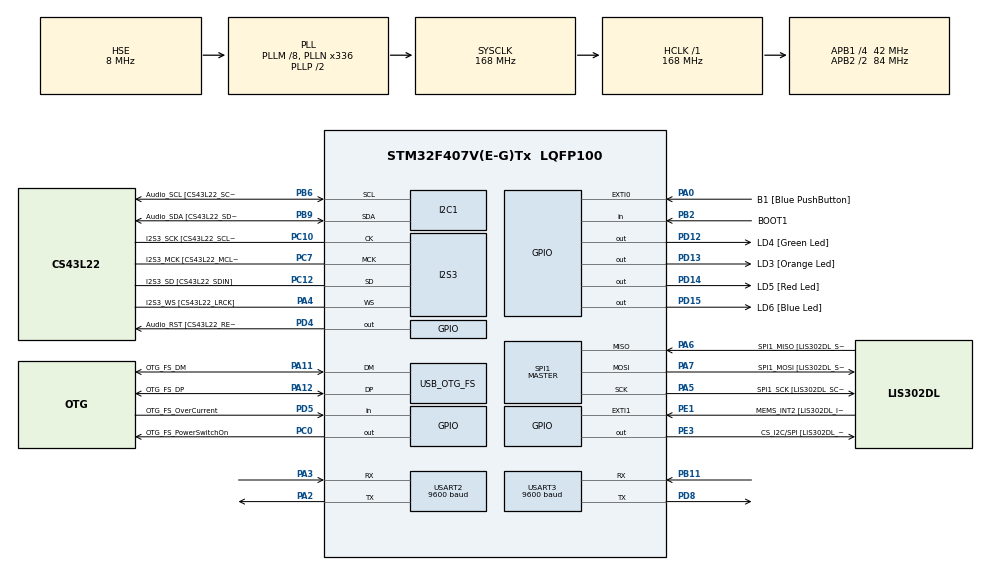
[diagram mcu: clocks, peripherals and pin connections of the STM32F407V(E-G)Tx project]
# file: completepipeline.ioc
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I2S3.AudioFreq-Half_Duplex_Master=I2S_AUDIOFREQ_96K
I2S3.ErrorAudioFreq=-2.34 %
I2S3.ErrorAudioFreq-Half_Duplex_Master=0.8 %
I2S3.FullDuplexMode=I2S_FULLDUPLEXMODE_DISABLE
I2S3.Instance=SPI$Index
I2S3.RealAudioFreq=93.75 KHz
I2S3.RealAudioFreq-Half_Duplex_Master=96.774 KHz
I2S3.VirtualMode=I2S_MODE_MASTER
Mcu.Family=STM32F4
Mcu.Name=STM32F407V(E-G)Tx
Mcu.Package=LQFP100
NVIC.OTG_FS_IRQn=true\:0\:0\:false\:false\:true\:true\:true\:true
NVIC.PriorityGroup=NVIC_PRIORITYGROUP_0
PA0-WKUP.GPIO_Label=B1 [Blue PushButton]
PA0-WKUP.GPIO_ModeDefaultEXTI=GPIO_MODE_EVT_RISING
PA0-WKUP.GPIO_PuPd=GPIO_NOPULL
PA0-WKUP.Signal=GPXTI0
PA10.GPIO_Label=OTG_FS_ID
PA10.GPIO_Mode=GPIO_MODE_AF_PP
PA10.GPIO_PuPd=GPIO_NOPULL
PA10.GPIO_Speed=GPIO_SPEED_FREQ_LOW
PA10.Signal=USB_OTG_FS_ID
PA11.GPIO_Label=OTG_FS_DM
PA11.GPIO_Mode=GPIO_MODE_AF_PP
PA11.GPIO_PuPd=GPIO_NOPULL
PA11.GPIO_Speed=GPIO_SPEED_FREQ_LOW
PA11.Mode=Device_Only
PA11.Signal=USB_OTG_FS_DM
PA12.GPIO_Label=OTG_FS_DP
PA12.GPIO_Mode=GPIO_MODE_AF_PP
PA12.GPIO_PuPd=GPIO_NOPULL
PA12.GPIO_Speed=GPIO_SPEED_FREQ_LOW
PA12.Mode=Device_Only
PA12.Signal=USB_OTG_FS_DP
PA13.GPIO_Label=SWDIO
PA13.Mode=Serial_Wire
PA13.Signal=SYS_JTMS-SWDIO
PA14.GPIO_Label=SWCLK
PA14.Mode=Serial_Wire
PA14.Signal=SYS_JTCK-SWCLK
PA2.Mode=Asynchronous
PA2.Signal=USART2_TX
PA3.Mode=Asynchronous
PA3.Signal=USART2_RX
PA4.GPIO_Label=I2S3_WS [CS43L22_LRCK]
PA4.GPIO_Mode=GPIO_MODE_AF_PP
PA4.GPIO_PuPd=GPIO_NOPULL
PA4.GPIO_Speed=GPIO_SPEED_FREQ_LOW
PA4.Mode=Half_Duplex_Master
PA4.Signal=I2S3_WS
PA5.GPIO_Label=SPI1_SCK [LIS302DL_SCL/SPC]
PA5.GPIO_Mode=GPIO_MODE_AF_PP
PA5.GPIO_PuPd=GPIO_NOPULL
PA5.GPIO_Speed=GPIO_SPEED_FREQ_LOW
PA5.Mode=Full_Duplex_Master
PA5.Signal=SPI1_SCK
PA6.GPIO_Label=SPI1_MISO [LIS302DL_SDO]
PA6.GPIO_Mode=GPIO_MODE_AF_PP
PA6.GPIO_PuPd=GPIO_NOPULL
PA6.GPIO_Speed=GPIO_SPEED_FREQ_LOW
PA6.Mode=Full_Duplex_Master
PA6.Signal=SPI1_MISO
PA7.GPIO_Label=SPI1_MOSI [LIS302DL_SDA/SDI/SDO]
PA7.GPIO_Mode=GPIO_MODE_AF_PP
PA7.GPIO_PuPd=GPIO_NOPULL
PA7.GPIO_Speed=GPIO_SPEED_FREQ_LOW
PA7.Mode=Full_Duplex_Master
PA7.Signal=SPI1_MOSI
PA9.GPIO_Label=VBUS_FS
PA9.GPIO_Mode=GPIO_MODE_INPUT
PA9.GPIO_PuPd=GPIO_NOPULL
PA9.Signal=USB_OTG_FS_VBUS
PB10.GPIO_Label=CLK_IN [MP45DT02_CLK]
PB10.GPIO_Mode=GPIO_MODE_AF_PP
PB10.GPIO_PuPd=GPIO_NOPULL
PB10.GPIO_Speed=GPIO_SPEED_FREQ_LOW
PB10.Signal=I2S2_CK
PB11.Mode=Asynchronous
PB11.Signal=USART3_RX
PB2.GPIO_Label=BOOT1
PB2.GPIO_Mode=GPIO_MODE_INPUT
PB2.GPIO_PuPd=GPIO_NOPULL
PB2.Signal=GPIO_Input
PB3.GPIO_Label=SWO
PB3.Signal=SYS_JTDO-SWO
PB6.GPIO_Label=Audio_SCL [CS43L22_SCL]
PB6.GPIO_Mode=GPIO_MODE_AF_OD
PB6.GPIO_Pu=GPIO_PULLUP
PB6.GPIO_PuPd=GPIO_NOPULL
PB6.GPIO_Speed=GPIO_SPEED_FREQ_LOW
PB6.Mode=I2C
PB6.Signal=I2C1_SCL
PB9.GPIO_Label=Audio_SDA [CS43L22_SDA]
PB9.GPIO_Mode=GPIO_MODE_AF_OD
PB9.GPIO_Pu=GPIO_PULLUP
PB9.GPIO_PuPd=GPIO_NOPULL
PB9.GPIO_Speed=GPIO_SPEED_FREQ_LOW
PB9.Mode=I2C
PB9.Signal=I2C1_SDA
PC0.GPIO_Label=OTG_FS_PowerSwitchOn
PC0.GPIO_PuPd=GPIO_NOPULL
PC0.GPIO_Speed=GPIO_SPEED_FREQ_LOW
PC0.PinState=GPIO_PIN_SET
PC0.Signal=GPIO_Output
PC10.GPIO_Label=I2S3_SCK [CS43L22_SCLK]
PC10.GPIO_Mode=GPIO_MODE_AF_PP
PC10.GPIO_PuPd=GPIO_NOPULL
PC10.GPIO_Speed=GPIO_SPEED_FREQ_LOW
PC10.Mode=Half_Duplex_Master
PC10.Signal=I2S3_CK
PC12.GPIO_Label=I2S3_SD [CS43L22_SDIN]
PC12.GPIO_Mode=GPIO_MODE_AF_PP
PC12.GPIO_PuPd=GPIO_NOPULL
PC12.GPIO_Speed=GPIO_SPEED_FREQ_LOW
PC12.Mode=Half_Duplex_Master
PC12.Signal=I2S3_SD
PC14-OSC32_IN.GPIO_Label=PC14-OSC32_IN
PC14-OSC32_IN.Mode=LSE-External-Oscillator
PC14-OSC32_IN.Signal=RCC_OSC32_IN
PC15-OSC32_OUT.GPIO_Label=PC15-OSC32_OUT
PC15-OSC32_OUT.Mode=LSE-External-Oscillator
PC15-OSC32_OUT.Signal=RCC_OSC32_OUT
PC3.GPIO_Label=PDM_OUT [MP45DT02_DOUT]
PC3.GPIO_Mode=GPIO_MODE_AF_PP
PC3.GPIO_PuPd=GPIO_NOPULL
PC3.GPIO_Speed=GPIO_SPEED_FREQ_LOW
PC3.Signal=I2S2_SD
PC7.GPIO_Label=I2S3_MCK [CS43L22_MCLK]
PC7.GPIO_Mode=GPIO_MODE_AF_PP
PC7.GPIO_PuPd=GPIO_NOPULL
PC7.GPIO_Speed=GPIO_SPEED_FREQ_LOW
PC7.Mode=Master_Clock_Activated
PC7.Signal=I2S3_MCK
PD12.GPIO_Label=LD4 [Green Led]
PD12.GPIO_PuPd=GPIO_NOPULL
PD12.GPIO_Speed=GPIO_SPEED_FREQ_LOW
PD12.Signal=GPIO_Output
PD13.GPIO_Label=LD3 [Orange Led]
PD13.GPIO_PuPd=GPIO_NOPULL
PD13.GPIO_Speed=GPIO_SPEED_FREQ_LOW
PD13.Signal=GPIO_Output
PD14.GPIO_Label=LD5 [Red Led]
PD14.GPIO_PuPd=GPIO_NOPULL
PD14.GPIO_Speed=GPIO_SPEED_FREQ_LOW
PD14.Signal=GPIO_Output
PD15.GPIO_Label=LD6 [Blue Led]
PD15.GPIO_PuPd=GPIO_NOPULL
PD15.GPIO_Speed=GPIO_SPEED_FREQ_LOW
PD15.Signal=GPIO_Output
PD4.GPIO_Label=Audio_RST [CS43L22_RESET]
PD4.GPIO_PuPd=GPIO_NOPULL
PD4.GPIO_Speed=GPIO_SPEED_FREQ_LOW
PD4.Signal=GPIO_Output
PD5.GPIO_Label=OTG_FS_OverCurrent
PD5.GPIO_Mode=GPIO_MODE_INPUT
PD5.GPIO_PuPd=GPIO_NOPULL
PD5.Signal=GPIO_Input
PD8.Mode=Asynchronous
PD8.Signal=USART3_TX
PE1.GPIO_Label=MEMS_INT2 [LIS302DL_INT2]
PE1.GPIO_ModeDefaultEXTI=GPIO_MODE_EVT_RISING
PE1.GPIO_PuPd=GPIO_NOPULL
PE1.Signal=GPXTI1
PE3.GPIO_Label=CS_I2C/SPI [LIS302DL_CS_I2C/SPI]
PE3.GPIO_PuPd=GPIO_NOPULL
PE3.GPIO_Speed=GPIO_SPEED_FREQ_LOW
PE3.Signal=GPIO_Output
PH0-OSC_IN.GPIO_Label=PH0-OSC_IN
PH0-OSC_IN.Mode=HSE-External-Oscillator
PH0-OSC_IN.Signal=RCC_OSC_IN
PH1-OSC_OUT.GPIO_Label=PH1-OSC_OUT
PH1-OSC_OUT.Mode=HSE-External-Oscillator
PH1-OSC_OUT.Signal=RCC_OSC_OUT
ProjectManager.HeapSize=0x200
ProjectManager.StackSize=0x400
ProjectManager.TargetToolchain=STM32CubeIDE
RCC.48MHZClocksFreq_Value=48000000
RCC.AHBFreq_Value=168000000
RCC.APB1CLKDivider=RCC_HCLK_DIV4
RCC.APB1Freq_Value=42000000
RCC.APB1TimFreq_Value=84000000
RCC.APB2CLKDivider=RCC_HCLK_DIV2
RCC.APB2Freq_Value=84000000
RCC.APB2TimFreq_Value=168000000
RCC.CortexFreq_Value=168000000
RCC.HCLKFreq_Value=168000000
RCC.HSE_VALUE=8000000
RCC.HSI_VALUE=16000000
RCC.PLLM=8
RCC.PLLN=336
RCC.PLLQ=7
RCC.SYSCLKFreq_VALUE=168000000
RCC.SYSCLKSource=RCC_SYSCLKSOURCE_PLLCLK
RCC.VCOOutputFreq_Value=336000000
SPI1.BaudRatePrescaler-Full_Duplex_Master=SPI_BAUDRATEPRESCALER_2
SPI1.CalculateBaudRate-Full_Duplex_Master=42.0 MBits/s
SPI1.Direction=SPI_DIRECTION_2LINES
SPI1.Mode=SPI_MODE_MASTER
SPI1.Mode-Full_Duplex_Master=SPI_MODE_MASTER
SPI1.VirtualType=VM_MASTER
USART2.BaudRate=9600
USART2.VirtualMode=VM_ASYNC
USART3.BaudRate=9600
USART3.VirtualMode=VM_ASYNC
USB_DEVICE.CLASS_NAME_FS=CDC
USB_DEVICE.VirtualMode-CDC_FS=Cdc
USB_DEVICE.VirtualModeFS=Cdc_FS
USB_OTG_FS.VirtualMode=Device_Only
VP_USB_DEVICE_VS_USB_DEVICE_CDC_FS.Mode=CDC_FS
board=STM32F407G-DISC1

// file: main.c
/* USER CODE BEGIN Header */
/**
  ******************************************************************************
  * @file           : main.c
  * @brief          : STM32F407 Dual HM-19 USB CDC Patient Monitor
  ******************************************************************************
  *
  * USART2 -> HM19 Patient #1
  * USART3 -> HM19 Patient #2
  *
  * USB CDC -> Raspberry Pi
  *
  ******************************************************************************
  */
/* USER CODE END Header */

#include "main.h"
#include "usb_device.h"

#include <stdio.h>
#include <string.h>
#include <stdlib.h>
#include <math.h>

#include "usbd_cdc_if.h"

typedef struct
{
    uint32_t timestamp;

    uint16_t hr;
    float spo2;
    float temp_c;

    float ax;
    float ay;
    float az;

    float gx;
    float gy;
    float gz;

} SensorData;

typedef enum
{
    NORMAL,
    FREEFALL,
    IMPACT,
    FLAT

} FallState;

#define RX_LINE_SIZE 180

#define ALERT_HR_LOW      (1 << 0)
#define ALERT_HR_HIGH     (1 << 1)
#define ALERT_TEMP_HIGH   (1 << 2)
#define ALERT_TEMP_LOW    (1 << 3)
#define ALERT_SPO2_LOW    (1 << 4)
#define ALERT_FALL        (1 << 5)

I2C_HandleTypeDef hi2c1;
I2S_HandleTypeDef hi2s3;
SPI_HandleTypeDef hspi1;

UART_HandleTypeDef huart2;
UART_HandleTypeDef huart3;

/* UART RX */

uint8_t rx2_byte;
char rx2_line[RX_LINE_SIZE];
uint16_t rx2_index = 0;

uint8_t rx3_byte;
char rx3_line[RX_LINE_SIZE];
uint16_t rx3_index = 0;

/* Patient states */

FallState fall_state_1 = NORMAL;
uint32_t fall_timer_1 = 0;
uint8_t fall_detected_1 = 0;

FallState fall_state_2 = NORMAL;
uint32_t fall_timer_2 = 0;
uint8_t fall_detected_2 = 0;

/* Function prototypes */

void SystemClock_Config(void);

static void MX_GPIO_Init(void);
static void MX_I2C1_Init(void);
static void MX_I2S3_Init(void);
static void MX_SPI1_Init(void);

static void MX_USART2_UART_Init(void);
static void MX_USART3_UART_Init(void);

void send_packet(char *packet);

uint8_t analyze_hr(uint16_t bpm);
uint8_t analyze_temp(float temp);
uint8_t analyze_spo2(float spo2);

float accel_mag(float ax, float ay, float az);
float gyro_mag(float gx, float gy, float gz);

int is_flat(float az);
int is_still(float gx, float gy, float gz);

void analyze_motion(
    FallState *state,
    uint32_t *timer,
    uint8_t *fall_detected,
    uint32_t t,
    float ax,
    float ay,
    float az,
    float gx,
    float gy,
    float gz
);

void send_patient_packet(
    int patient,
    uint16_t hr,
    float spo2,
    float temp_c,
    uint8_t flags
);

int parse_vp1_packet(char *line, SensorData *d);

void process_sensor_packet(
    int patient,
    SensorData *d,
    FallState *fall_state,
    uint32_t *fall_timer,
    uint8_t *fall_detected
);

/* USER CODE BEGIN 0 */

void send_packet(char *packet)
{
    uint32_t timeout = HAL_GetTick();

    while (CDC_Transmit_FS((uint8_t*)packet, strlen(packet)) == USBD_BUSY)
    {
        if((HAL_GetTick() - timeout) > 100)
            return;
    }
}

uint8_t analyze_hr(uint16_t bpm)
{
    uint8_t f = 0;

    if (bpm < 60)
        f |= ALERT_HR_LOW;

    if (bpm > 100)
        f |= ALERT_HR_HIGH;

    return f;
}

uint8_t analyze_temp(float temp)
{
    uint8_t f = 0;

    if (temp > 38.0f)
        f |= ALERT_TEMP_HIGH;

    if (temp < 35.0f)
        f |= ALERT_TEMP_LOW;

    return f;
}

uint8_t analyze_spo2(float spo2)
{
    if (spo2 < 90.0f)
        return ALERT_SPO2_LOW;

    return 0;
}

float accel_mag(float ax, float ay, float az)
{
    return sqrtf(ax*ax + ay*ay + az*az);
}

float gyro_mag(float gx, float gy, float gz)
{
    return fabsf(gx) + fabsf(gy) + fabsf(gz);
}

int is_flat(float az)
{
    return fabsf(az) < 0.5f;
}

int is_still(float gx, float gy, float gz)
{
    return (fabsf(gx) + fabsf(gy) + fabsf(gz)) < 10.0f;
}

void analyze_motion(
    FallState *state,
    uint32_t *timer,
    uint8_t *fall_detected,
    uint32_t t,
    float ax,
    float ay,
    float az,
    float gx,
    float gy,
    float gz
)
{
    float acc = accel_mag(ax, ay, az);
    float gyro = gyro_mag(gx, gy, gz);

    switch(*state)
    {
        case NORMAL:

            if(acc < 0.5f)
            {
                *state = FREEFALL;
                *timer = t;
            }

            break;

        case FREEFALL:

            if(acc > 2.5f)
            {
                *state = IMPACT;
            }
            else if((t - *timer) > 1000)
            {
                *state = NORMAL;
            }

            break;

        case IMPACT:

            if(is_flat(az) && gyro > 150.0f)
            {
                *state = FLAT;
                *timer = t;
            }
            else
            {
                *state = NORMAL;
            }

            break;

        case FLAT:

            if(is_still(gx, gy, gz) &&
               ((t - *timer) > 1500))
            {
                *fall_detected = 1;
                *state = NORMAL;
            }
            else if(!is_still(gx, gy, gz))
            {
                *state = NORMAL;
            }

            break;
    }
}

void send_patient_packet(
    int patient,
    uint16_t hr,
    float spo2,
    float temp_c,
    uint8_t flags
)
{
    char packet[256];

    snprintf(packet,
             sizeof(packet),
             "Patient:%d HR:%d SPO2:%.1f TEMP:%.1f FLAGS:%d\r\n",
             patient,
             hr,
             spo2,
             temp_c,
             flags);

    send_packet(packet);
}

int parse_vp1_packet(char *line, SensorData *d)
{
    char *token;

    token = strtok(line, ",");

    if(token == NULL) return 0;

    if(strcmp(token, "VP1") != 0)
        return 0;

    token = strtok(NULL, ",");
    if(token == NULL) return 0;
    d->timestamp = strtoul(token, NULL, 10);

    token = strtok(NULL, ",");
    if(token == NULL) return 0;
    d->hr = (uint16_t)atoi(token);

    token = strtok(NULL, ",");
    if(token == NULL) return 0;
    d->spo2 = (float)atof(token);

    token = strtok(NULL, ",");
    if(token == NULL) return 0;
    d->temp_c = (float)atof(token);

    token = strtok(NULL, ",");
    if(token == NULL) return 0;
    d->ax = (float)atof(token);

    token = strtok(NULL, ",");
    if(token == NULL) return 0;
    d->ay = (float)atof(token);

    token = strtok(NULL, ",");
    if(token == NULL) return 0;
    d->az = (float)atof(token);

    token = strtok(NULL, ",");
    if(token == NULL) return 0;
    d->gx = (float)atof(token);

    token = strtok(NULL, ",");
    if(token == NULL) return 0;
    d->gy = (float)atof(token);

    token = strtok(NULL, ",");
    if(token == NULL) return 0;
    d->gz = (float)atof(token);

    return 1;
}

void process_sensor_packet(
    int patient,
    SensorData *d,
    FallState *fall_state,
    uint32_t *fall_timer,
    uint8_t *fall_detected
)
{
    uint8_t flags = 0;

    flags |= analyze_hr(d->hr);
    flags |= analyze_spo2(d->spo2);
    flags |= analyze_temp(d->temp_c);

    analyze_motion(
        fall_state,
        fall_timer,
        fall_detected,
        HAL_GetTick(),
        d->ax,
        d->ay,
        d->az,
        d->gx,
        d->gy,
        d->gz
    );

    if(*fall_detected)
    {
        flags |= ALERT_FALL;
        *fall_detected = 0;
    }

    send_patient_packet(
        patient,
        d->hr,
        d->spo2,
        d->temp_c,
        flags
    );
}

/* USER CODE END 0 */

int main(void)
{
    HAL_Init();

    SystemClock_Config();

    MX_GPIO_Init();
    MX_I2C1_Init();
    MX_I2S3_Init();
    MX_SPI1_Init();

    MX_USART2_UART_Init();
    MX_USART3_UART_Init();

    MX_USB_DEVICE_Init();

    HAL_Delay(2000);

    while (1)
    {
        /* USART2 */
//
//        if(HAL_UART_Receive(&huart2, &rx2_byte, 1, 10) == HAL_OK)
//        {
//            if(rx2_byte == '\n')
//            {
//                rx2_line[rx2_index] = '\0';
//                char debug[256];
//                snprintf(debug, sizeof(debug), "HM19-1 RAW: %s\r\n", rx2_line);
//                send_packet(debug);
//
//                SensorData d;
//
//                if(parse_vp1_packet(rx2_line, &d))
//                {
//                    process_sensor_packet(
//                        1,
//                        &d,
//                        &fall_state_1,
//                        &fall_timer_1,
//                        &fall_detected_1
//                    );
//
//                    HAL_GPIO_TogglePin(GPIOD, GPIO_PIN_12);
//                }
//
//                rx2_index = 0;
//            }
//            else if(rx2_byte != '\r')
//            {
//                if(rx2_index < RX_LINE_SIZE - 1)
//                {
//                    rx2_line[rx2_index++] = rx2_byte;
//                }
//            }
//        }
    	if (HAL_UART_Receive(&huart2, &rx2_byte, 1, 100) == HAL_OK)
    	{
    	    if (rx2_byte == '\n')
    	    {
    	        rx2_line[rx2_index] = '\0';

    	        // DEBUG SAFE PRINT
    	        char debug[300];
    	        snprintf(debug, sizeof(debug), "HM19-1 RAW FINAL: %s\r\n", rx2_line);
    	        send_packet(debug);

    	        SensorData d;
    	        if (parse_vp1_packet(rx2_line, &d))
    	        {
    	            process_sensor_packet(1, &d,
    	                                  &fall_state_1,
    	                                  &fall_timer_1,
    	                                  &fall_detected_1);
    	        }

    	        rx2_index = 0;
    	    }
    	    else if (rx2_byte != '\r')
    	    {
    	        if (rx2_index < RX_LINE_SIZE - 1)
    	        {
    	            rx2_line[rx2_index++] = rx2_byte;
    	        }
    	    }
    	}

        /* USART3 */

        if(HAL_UART_Receive(&huart3, &rx3_byte, 1, 10) == HAL_OK)
        {
            if(rx3_byte == '\n')
            {
                rx3_line[rx3_index] = '\0';

                SensorData d;

                if(parse_vp1_packet(rx3_line, &d))
                {
                    process_sensor_packet(
                        2,
                        &d,
                        &fall_state_2,
                        &fall_timer_2,
                        &fall_detected_2
                    );

                    HAL_GPIO_TogglePin(GPIOD, GPIO_PIN_13);
                }

                rx3_index = 0;
            }
            else if(rx3_byte != '\r')
            {
                if(rx3_index < RX_LINE_SIZE - 1)
                {
                    rx3_line[rx3_index++] = rx3_byte;
                }
            }
        }
    }
}

/* Clock config from WORKING USB project */

void SystemClock_Config(void)
{
    RCC_OscInitTypeDef RCC_OscInitStruct = {0};
    RCC_ClkInitTypeDef RCC_ClkInitStruct = {0};

    __HAL_RCC_PWR_CLK_ENABLE();

    __HAL_PWR_VOLTAGESCALING_CONFIG(PWR_REGULATOR_VOLTAGE_SCALE1);

    RCC_OscInitStruct.OscillatorType = RCC_OSCILLATORTYPE_HSE;
    RCC_OscInitStruct.HSEState = RCC_HSE_ON;
    RCC_OscInitStruct.PLL.PLLState = RCC_PLL_ON;
    RCC_OscInitStruct.PLL.PLLSource = RCC_PLLSOURCE_HSE;
    RCC_OscInitStruct.PLL.PLLM = 8;
    RCC_OscInitStruct.PLL.PLLN = 336;
    RCC_OscInitStruct.PLL.PLLP = RCC_PLLP_DIV2;
    RCC_OscInitStruct.PLL.PLLQ = 7;

    if (HAL_RCC_OscConfig(&RCC_OscInitStruct) != HAL_OK)
    {
        Error_Handler();
    }

    RCC_ClkInitStruct.ClockType =
        RCC_CLOCKTYPE_HCLK |
        RCC_CLOCKTYPE_SYSCLK |
        RCC_CLOCKTYPE_PCLK1 |
        RCC_CLOCKTYPE_PCLK2;

    RCC_ClkInitStruct.SYSCLKSource =
        RCC_SYSCLKSOURCE_PLLCLK;

    RCC_ClkInitStruct.AHBCLKDivider =
        RCC_SYSCLK_DIV1;

    RCC_ClkInitStruct.APB1CLKDivider =
        RCC_HCLK_DIV4;

    RCC_ClkInitStruct.APB2CLKDivider =
        RCC_HCLK_DIV2;

    if (HAL_RCC_ClockConfig(
            &RCC_ClkInitStruct,
            FLASH_LATENCY_5) != HAL_OK)
    {
        Error_Handler();
    }
}

static void MX_USART2_UART_Init(void)
{
    huart2.Instance = USART2;

    huart2.Init.BaudRate = 9600;
    huart2.Init.WordLength = UART_WORDLENGTH_8B;
    huart2.Init.StopBits = UART_STOPBITS_1;
    huart2.Init.Parity = UART_PARITY_NONE;
    huart2.Init.Mode = UART_MODE_TX_RX;
    huart2.Init.HwFlowCtl = UART_HWCONTROL_NONE;
    huart2.Init.OverSampling = UART_OVERSAMPLING_16;

    if (HAL_UART_Init(&huart2) != HAL_OK)
    {
        Error_Handler();
    }
}

static void MX_USART3_UART_Init(void)
{
    huart3.Instance = USART3;

    huart3.Init.BaudRate = 9600;
    huart3.Init.WordLength = UART_WORDLENGTH_8B;
    huart3.Init.StopBits = UART_STOPBITS_1;
    huart3.Init.Parity = UART_PARITY_NONE;
    huart3.Init.Mode = UART_MODE_TX_RX;
    huart3.Init.HwFlowCtl = UART_HWCONTROL_NONE;
    huart3.Init.OverSampling = UART_OVERSAMPLING_16;

    if (HAL_UART_Init(&huart3) != HAL_OK)
    {
        Error_Handler();
    }
}

/* KEEP YOUR EXISTING:
   MX_GPIO_Init()
   MX_I2C1_Init()
   MX_I2S3_Init()
   MX_SPI1_Init()
   Error_Handler()
*/

static void MX_I2C1_Init(void)
{
    hi2c1.Instance = I2C1;

    hi2c1.Init.ClockSpeed = 100000;
    hi2c1.Init.DutyCycle = I2C_DUTYCYCLE_2;
    hi2c1.Init.OwnAddress1 = 0;
    hi2c1.Init.AddressingMode = I2C_ADDRESSINGMODE_7BIT;
    hi2c1.Init.DualAddressMode = I2C_DUALADDRESS_DISABLE;
    hi2c1.Init.OwnAddress2 = 0;
    hi2c1.Init.GeneralCallMode = I2C_GENERALCALL_DISABLE;
    hi2c1.Init.NoStretchMode = I2C_NOSTRETCH_DISABLE;

    if (HAL_I2C_Init(&hi2c1) != HAL_OK)
    {
        Error_Handler();
    }
}

static void MX_I2S3_Init(void)
{
    hi2s3.Instance = SPI3;

    hi2s3.Init.Mode = I2S_MODE_MASTER_TX;
    hi2s3.Init.Standard = I2S_STANDARD_PHILIPS;
    hi2s3.Init.DataFormat = I2S_DATAFORMAT_16B;
    hi2s3.Init.MCLKOutput = I2S_MCLKOUTPUT_ENABLE;
    hi2s3.Init.AudioFreq = I2S_AUDIOFREQ_96K;
    hi2s3.Init.CPOL = I2S_CPOL_LOW;
    hi2s3.Init.ClockSource = I2S_CLOCK_PLL;
    hi2s3.Init.FullDuplexMode = I2S_FULLDUPLEXMODE_DISABLE;

    if (HAL_I2S_Init(&hi2s3) != HAL_OK)
    {
        Error_Handler();
    }
}

static void MX_SPI1_Init(void)
{
    hspi1.Instance = SPI1;

    hspi1.Init.Mode = SPI_MODE_MASTER;
    hspi1.Init.Direction = SPI_DIRECTION_2LINES;
    hspi1.Init.DataSize = SPI_DATASIZE_8BIT;
    hspi1.Init.CLKPolarity = SPI_POLARITY_LOW;
    hspi1.Init.CLKPhase = SPI_PHASE_1EDGE;
    hspi1.Init.NSS = SPI_NSS_SOFT;
    hspi1.Init.BaudRatePrescaler = SPI_BAUDRATEPRESCALER_2;
    hspi1.Init.FirstBit = SPI_FIRSTBIT_MSB;
    hspi1.Init.TIMode = SPI_TIMODE_DISABLE;
    hspi1.Init.CRCCalculation = SPI_CRCCALCULATION_DISABLE;
    hspi1.Init.CRCPolynomial = 10;

    if (HAL_SPI_Init(&hspi1) != HAL_OK)
    {
        Error_Handler();
    }
}

static void MX_GPIO_Init(void)
{
    GPIO_InitTypeDef GPIO_InitStruct = {0};

    __HAL_RCC_GPIOD_CLK_ENABLE();

    HAL_GPIO_WritePin(GPIOD, GPIO_PIN_12, GPIO_PIN_RESET);

    GPIO_InitStruct.Pin = GPIO_PIN_12;
    GPIO_InitStruct.Mode = GPIO_MODE_OUTPUT_PP;
    GPIO_InitStruct.Pull = GPIO_NOPULL;
    GPIO_InitStruct.Speed = GPIO_SPEED_FREQ_LOW;

    HAL_GPIO_Init(GPIOD, &GPIO_InitStruct);
}

void Error_Handler(void)
{
    __disable_irq();

    while (1)
    {
    }
}
